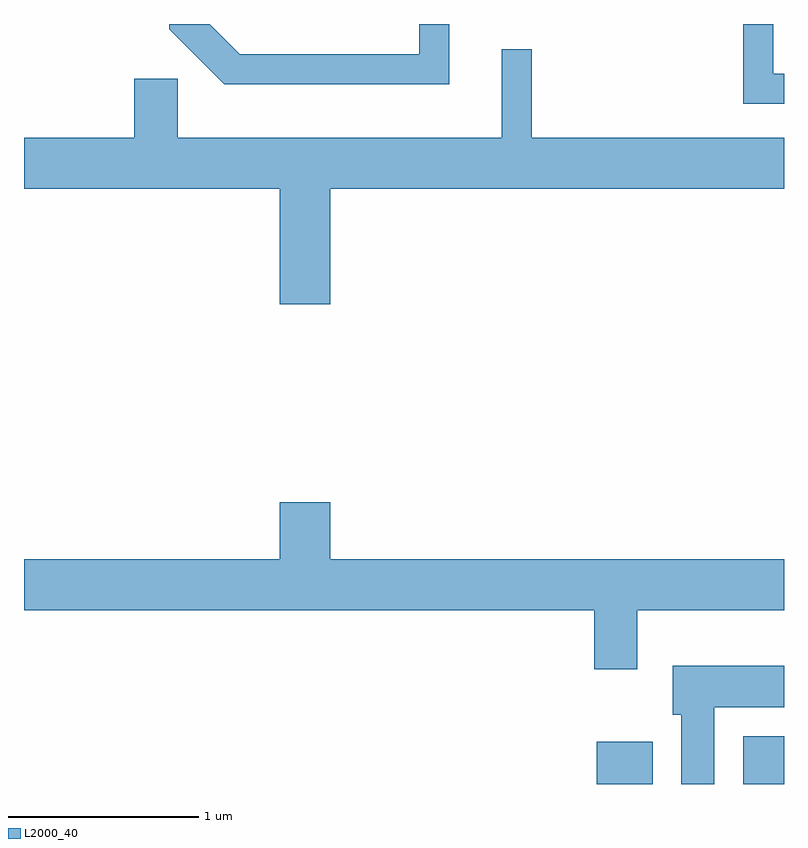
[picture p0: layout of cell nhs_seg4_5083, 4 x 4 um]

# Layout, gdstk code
import gdstk
lib = gdstk.Library(unit=1e-6, precision=1e-09)
def R(c, l, rs):  # rectangles x0, y0, x1, y1
    for r in rs: c.add(gdstk.rectangle(r[:2], r[2:], *l))
def P(c, l, *ps):  # polygons
    for p in ps: c.add(gdstk.Polygon(p, *l))
L2000_40 = (2000, 40)

nhs_seg4_5083 = lib.new_cell('nhs_seg4_5083')
R(nhs_seg4_5083, L2000_40, [(336.626,1355.982,336.919,1356.204), (337.396,1355.982,337.611,1356.234)])
P(nhs_seg4_5083, L2000_40, [(337.611,1359.719),(337.554,1359.719),(337.554,1359.982),(337.396,1359.982),(337.396,1359.561),(337.611,1359.561)],
  [(335.849,1359.982),(335.691,1359.982),(335.691,1359.824),(334.747,1359.824),(334.589,1359.982),(334.376,1359.982),(334.376,1359.954),(334.664,1359.666),(335.849,1359.666)],
  [(335.224,1359.116),(337.611,1359.116),(337.611,1359.384),(336.284,1359.384),(336.284,1359.848),(336.126,1359.848),(336.126,1359.384),(334.419,1359.384),(334.419,1359.694),(334.191,1359.694),(334.191,1359.384),(333.611,1359.384),(333.611,1359.116),(334.956,1359.116),(334.956,1358.506),(335.224,1358.506)],
  [(336.839,1356.896),(337.611,1356.896),(337.611,1357.164),(335.224,1357.164),(335.224,1357.464),(334.956,1357.464),(334.956,1357.164),(333.611,1357.164),(333.611,1356.896),(336.611,1356.896),(336.611,1356.586),(336.839,1356.586)],
  [(337.244,1356.386),(337.611,1356.386),(337.611,1356.604),(337.026,1356.604),(337.026,1356.346),(337.071,1356.346),(337.071,1355.982),(337.244,1355.982)])

lib.write_gds('nhs_seg4_5083.gds')
